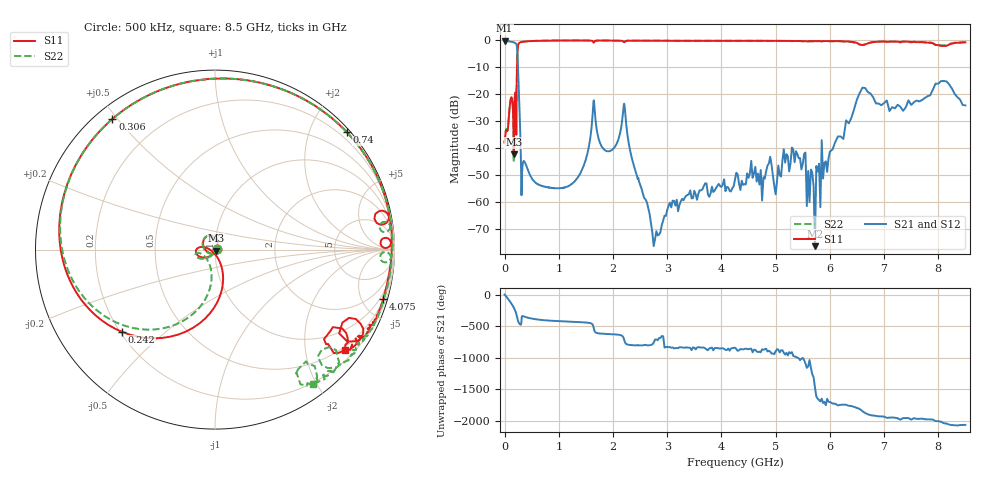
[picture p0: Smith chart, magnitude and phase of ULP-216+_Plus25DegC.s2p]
! Mini-Circuits
! S2P DATA File Format
! Type: LOW PASS FILTER
! Model: ULP-216+
! All S Parameters are in dB deg format
! TEST CONDITIONS: INPUT POWER = 0 dBm @ Temperature = +25deg C
# MHz S DB R 50
!Frequency  S11 dB  S11 DEG  S21 dB  S21 DEG  S12 dB  S12 DEG  S22 dB  S22 DEG
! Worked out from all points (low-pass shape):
!   1015 points, 500 kHz to 8.5 GHz, reference 50 ohm
!   highest |S21| = -0.16 dB at 1 MHz (marker M1); lowest = -76.5 dB at 5.725 GHz (marker M2)
!   |S21| within 3 dB of the highest: start of sweep to 231.1 MHz
!   lowest |S11| = -42.3 dB at 169 MHz (marker M3), VSWR 1.02, Z = 50.6 - j0.509 ohm
!   |S11| at or under -10 dB: start of sweep to 228.8 MHz
!   |S22| runs from -45.2 to -0.1 dB; largest |S21 - S12| = 0.0014
!   S11 on the Smith chart (normalised r, x): 500 kHz: 1.03, +0.00; 242 MHz: 0.21, -0.36; 306 MHz: 0.05, +0.49; 740 MHz: 0.06, +2.63; 4.075 GHz: 0.58, -6.85; 8.5 GHz: 0.42, -2.86
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0.5  -38.01 4.7  -0.16 -0.5  -0.16 -0.5  -37.33 3.6
1  -37.77 5.2  -0.16 -1.1  -0.16 -1.1  -37.55 3.6
87  -26.30 -170.9  -0.41 -96.2  -0.41 -96.2  -26.06 -167.5
141  -22.14 100.7  -0.62 -164.2  -0.63 -164.2  -22.13 104.9
169  -42.34 -41.1  -0.74 153.4  -0.74 153.4  -44.78 -50.2
207  -20.92 172.4  -1.20 78.9  -1.20 78.9  -19.90 -169.6
217  -32.42 -93.1  -1.44 51.8  -1.44 51.8  -22.65 -122.9
242  -3.20 -138.5  -7.22 -39.6  -7.22 -39.6  -3.09 -146.2
306  -0.67 128.1  -49.94 -106.5  -49.96 -106.4  -0.66 125.7
740  -0.14 41.7  -54.33 -47.7  -54.34 -47.5  -0.14 40.3
1420  -0.07 15.2  -48.45 -78.9  -48.46 -78.9  -0.07 12.6
1645  -0.87 10.9  -22.29 -173.4  -22.29 -173.4  -0.68 7.7
1905  -0.09 6.5  -41.24 94.5  -41.24 94.3  -0.09 2.5
2205  -0.70 2.0  -23.55 4.8  -23.55 4.8  -0.72 -2.8
2850  -0.17 -5.5  -72.14 32.1  -72.69 35.4  -0.16 -11.5
4075  -0.21 -16.5  -56.00 -155.9  -55.91 -155.9  -0.17 -22.4
4275  -0.21 -18.0  -49.18 -142.1  -49.19 -141.7  -0.18 -23.7
5675  -0.34 -26.3  -49.08 178.3  -48.92 178.2  -0.40 -33.9
5725  -0.30 -26.6  -76.46 -30.5  -77.36 -32.2  -0.35 -34.2
6550  -1.57 -34.0  -19.62 -12.8  -19.62 -12.8  -1.65 -46.2
7100  -0.48 -30.7  -26.28 -149.9  -26.29 -150.0  -0.55 -46.2
8500  -0.78 -37.8  -24.19 95.8  -24.19 95.8  -0.65 -54.1
